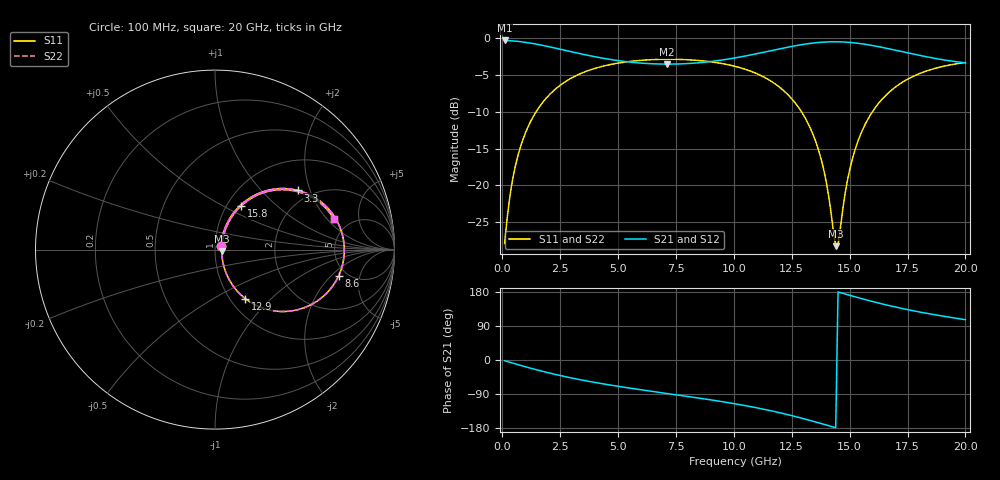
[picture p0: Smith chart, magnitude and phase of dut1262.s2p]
! Touchstone file exported from HFSS 2026.1.0
!  File:  C:/ffzhzh/LocalFiles/Ansys_Project_Files/temp_train_TSV_RDL_1262_1783327472_38704.aedt
!  Generated:  04:57:09 PM Jul  6, 2026
!  Design:  TSV_RDL
!  Project:  temp_train_TSV_RDL_1262_1783327472_38704
! Variables:
!  h_bsmrdl = 2.27um
!  h_ox = 20um
!  h_rdl = 5um
!  h_sub = 58.67um
!  h_tmrdl = 5.68um
!  h_tsv = 58.67um
!  h_via = 3um
!  l_bsmrdl = 547.9um
!  l_sub = 4462.07um
!  l_tmrdl = 585.52um
!  m_sub = 200um
!  pitch = 59.24um
!  r_tsv = 5.12um
!  s_tmrdl = 10um
!  w_bsmrdl = 13.09um
!  w_sub = 500um
!  w_tmrdl = 12.34um
!  x_tsv_center1 = 591.69um
!  x_tsv_center2 = 1152.68um
!  x_tsv_center3 = 1750.54um
!  x_tsv_center4 = 2311.53um
!  x_tsv_center5 = 2909.39um
!  x_tsv_center6 = 3470.38um
# GHz S MA R 50.000000
! Terminal data exported
! Port[1] = TM_RDL1_1_T1
! Port[2] = TM_RDL5_1_T1
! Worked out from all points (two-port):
!   200 points, 100 MHz to 20 GHz, reference 50 ohm
!   highest |S21| = -0.29 dB at 100 MHz (marker M1); lowest = -3.5 dB at 7.1 GHz (marker M2)
!   |S21| within 3 dB of the highest: start of sweep to 5.702 GHz; 8.597 GHz to 19.88 GHz (11.29 GHz wide, 79.3 % of centre)
!   lowest |S11| = -28.3 dB at 14.4 GHz (marker M3), VSWR 1.08, Z = 53.9 - j0.983 ohm
!   |S11| at or under -10 dB: start of sweep to 1.458 GHz; 12.92 GHz to 15.98 GHz (3.06 GHz wide, 21.2 % of centre)
!   |S22| runs from -28.3 to -2.8 dB; largest |S21 - S12| = 1.6e-14
!   S11 on the Smith chart (normalised r, x): 100 MHz: 1.07, +0.05; 3.3 GHz: 1.71, +1.66; 8.6 GHz: 4.24, -2.48; 12.9 GHz: 1.17, -0.71; 15.8 GHz: 1.16, +0.62; 20 GHz: 3.71, +2.39
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0.1  0.04029 34.4  0.9672 -1.9  0.9672 -1.9  0.04029 34.4
! Gamma 0 0 0 0
! Port Impedance 50 0 50 0
0.5  0.1215 64.6  0.9592 -9.1  0.9592 -9.1  0.1215 64.6
1.1  0.2477 62.2  0.9343 -19.6  0.9343 -19.6  0.2477 62.2
2  0.4084 51.2  0.8783 -33.9  0.8783 -33.9  0.4084 51.2
3.3  0.5685 35.4  0.79 -51.3  0.79 -51.3  0.5685 35.4
3.5  0.5864 33.2  0.7777 -53.7  0.7777 -53.7  0.5864 33.2
6.8  0.7192 2.9  0.6688 -85.6  0.6688 -85.6  0.7192 2.9
7.1  0.7204 0.4  0.6678 -88.2  0.6678 -88.2  0.7204 0.4
8.6  0.7039 -12.1  0.6848 -101.4  0.6848 -101.4  0.7039 -12.1
10.1  0.6422 -25.9  0.7383 -116.1  0.7383 -116.1  0.6422 -25.9
11.6  0.5124 -42.3  0.824 -133.9  0.824 -133.9  0.5124 -42.3
12.9  0.3204 -58.3  0.9045 -153.0  0.9045 -153.0  0.3204 -58.3
13.4  0.2259 -63.5  0.9281 -161.3  0.9281 -161.3  0.2259 -63.5
13.9  0.1242 -63.8  0.9432 -169.9  0.9432 -169.9  0.1242 -63.9
14.4  0.03864 -13.6  0.9477 -178.7  0.9477 -178.7  0.03855 -13.7
14.5  0.03971 17.3  0.9472 179.5  0.9472 179.5  0.0396 17.3
14.8  0.08704 57.6  0.9431 174.3  0.9431 174.3  0.08696 57.7
15.1  0.1475 63.3  0.9351 169.0  0.9351 169.0  0.1474 63.4
15.8  0.2838 59.1  0.904 157.3  0.904 157.3  0.2837 59.2
16.7  0.4295 48.5  0.8486 143.7  0.8486 143.7  0.4294 48.5
18.1  0.5827 32.5  0.761 125.8  0.761 125.8  0.5827 32.5
20  0.6843 14.5  0.6815 106.3  0.6815 106.3  0.6843 14.5
